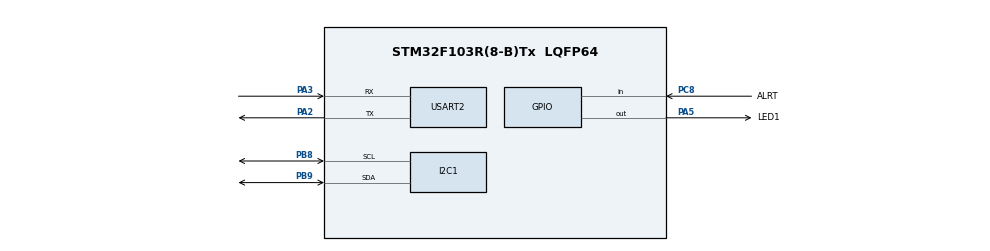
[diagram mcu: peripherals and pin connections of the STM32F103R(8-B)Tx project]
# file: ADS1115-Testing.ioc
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Mcu.Family=STM32F1
Mcu.Name=STM32F103R(8-B)Tx
Mcu.Package=LQFP64
NVIC.PriorityGroup=NVIC_PRIORITYGROUP_4
PA13.Mode=Serial_Wire
PA13.Signal=SYS_JTMS-SWDIO
PA14.Mode=Serial_Wire
PA14.Signal=SYS_JTCK-SWCLK
PA2.Mode=Asynchronous
PA2.Signal=USART2_TX
PA3.Mode=Asynchronous
PA3.Signal=USART2_RX
PA5.GPIO_Label=LED1
PA5.Signal=GPIO_Output
PB8.GPIO_Speed=GPIO_SPEED_FREQ_LOW
PB8.Mode=I2C
PB8.Signal=I2C1_SCL
PB9.GPIO_Speed=GPIO_SPEED_FREQ_LOW
PB9.Mode=I2C
PB9.Signal=I2C1_SDA
PC8.GPIO_Label=ALRT
PC8.Signal=GPIO_Input
ProjectManager.HeapSize=0x200
ProjectManager.StackSize=0x400
ProjectManager.TargetToolchain=STM32CubeIDE
RCC.APB1Freq_Value=8000000
RCC.APB2Freq_Value=8000000
USART2.VirtualMode=VM_ASYNC
board=custom

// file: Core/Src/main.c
/* USER CODE BEGIN Header */
/**
  ******************************************************************************
  * @file           : main.c
  * @brief          : Main program body
  ******************************************************************************
  * @attention
  *
  * Copyright (c) 2025 STMicroelectronics.
  * All rights reserved.
  *
  * This software is licensed under terms that can be found in the LICENSE file
  * in the root directory of this software component.
  * If no LICENSE file comes with this software, it is provided AS-IS.
  *
  ******************************************************************************
  */
/* USER CODE END Header */
#include "main.h"

/* USER CODE BEGIN Includes */

#include <string.h>
#include <stdio.h>
#include "UART.h"

/* USER CODE END Includes */

I2C_HandleTypeDef hi2c1;

UART_HandleTypeDef huart2;

/* USER CODE BEGIN PV */

static uint8_t ADS1115_ADDR = 0b10010000; // I2C address of the ADS1115, left aligned (as I2C HAL expects, 7 bit address with R/W bit set by the HAL)
static uint8_t ADS1115_REG_CONVERSION = 0x00; // Register address for ADC conversion output
static uint8_t ADS1115_REG_CONFIG = 0x01; // Register address for configuration
static uint8_t ADS1115_REG_LO_THRESH = 0x02; // Register address for low threshold
static uint8_t ADS1115_REG_HI_THRESH = 0x03; // Register address for high threshold

uint16_t ads1115_config = 0b0000001011100011; // 15: OS, 14:12: MUX, 11:9: PGA, 8: MODE, 7:5: DR, 4: COMP_MODE, 3: COMP_POL, 2: COMP_LAT, 1:0: COMP_QUE
uint16_t ads1115_low_thresh = 32768; // 0V
uint16_t ads1115_high_thresh = 58024; // 3V

// To use these masks, do ads1115_config | ads1115_config_a0_gnd
// Note that the default ads1115_config is set to 000, which is A0 relative to A1
uint16_t ads1115_config_a0_gnd = 0b0100000000000000; // Mask to select reading voltage between A0 and GND
uint16_t ads1115_config_a1_gnd = 0b0101000000000000; // Mask for A1 reading relative to GND
uint16_t ads1115_config_a2_gnd = 0b0110000000000000; // Mask for A2 reading relative to GND
uint16_t ads1115_config_a3_gnd = 0b0111000000000000; // Mask for A0 reading relative to A1

/* USER CODE END PV */

void SystemClock_Config(void);
static void MX_GPIO_Init(void);
static void MX_I2C1_Init(void);
static void MX_USART2_UART_Init(void);
/* USER CODE BEGIN PFP */

static void ADS1115_Init(void);
static void ADS1115_Thresh_Init(void);
static void ADS1115_I2C_Reset(void);
static HAL_StatusTypeDef ADS1115_Select_Register(uint8_t* reg);
static HAL_StatusTypeDef ADS1115_Write(uint8_t* reg, uint16_t* data);
static int16_t ADS1115_Read(void);

static HAL_StatusTypeDef I2C_Transmit(I2C_HandleTypeDef* hi2c, uint16_t DevAddress, uint8_t* pData, uint16_t Size, uint32_t Timeout);
static HAL_StatusTypeDef I2C_Receive(I2C_HandleTypeDef* hi2c, uint16_t DevAddress, uint8_t* pData, uint16_t Size, uint32_t Timeout);

/* USER CODE END PFP */

int main(void)
{

  /* MCU Configuration--------------------------------------------------------*/

  /* Reset of all peripherals, Initializes the Flash interface and the Systick. */
  HAL_Init();

  /* Configure the system clock */
  SystemClock_Config();

  /* Initialize all configured peripherals */
  MX_GPIO_Init();
  MX_I2C1_Init();
  MX_USART2_UART_Init();
  /* USER CODE BEGIN 2 */

  HAL_Delay(100);
  ADS1115_I2C_Reset(); // Init is called inside here
  HAL_Delay(100);

  HAL_StatusTypeDef status = HAL_I2C_IsDeviceReady(&hi2c1, ADS1115_ADDR, 1, HAL_MAX_DELAY);

  /* USER CODE END 2 */

  /* Infinite loop */
  while (1)
  {

    /* USER CODE BEGIN 3 */

    // This function waits until 's' is received on UART to continue
    // This way, from the Python script we can command the STM32 chip operate only when we tell it to
    //Continue_On_UART_Receive(huart2);

	  HAL_GPIO_TogglePin(LED1_GPIO_Port, LED1_Pin); // Toggle the LED high when we're collecting or sending values

    // Get 100 samples the slow way
    // At 860 SPS, 2ms delay should be enough to not get repeat values
    int32_t ads_data_sum = 0;
    for (int i = 0; i < 100; i++) {
      ads_data_sum += ADS1115_Read(); // Read the ADC value
      HAL_Delay(2);
    }

    int32_t ads_voltage_averaged = ads_data_sum / 100 * 8.192 * 1000000 / 65536; // uV bc. *1e6 to get full precision in an integer

    Send_ADC_Values_Over_UART(huart2, ads_voltage_averaged);

	  HAL_GPIO_TogglePin(LED1_GPIO_Port, LED1_Pin);
  }
  /* USER CODE END 3 */
}

void SystemClock_Config(void)
{
  RCC_OscInitTypeDef RCC_OscInitStruct = {0};
  RCC_ClkInitTypeDef RCC_ClkInitStruct = {0};

  /** Initializes the RCC Oscillators according to the specified parameters
  * in the RCC_OscInitTypeDef structure.
  */
  RCC_OscInitStruct.OscillatorType = RCC_OSCILLATORTYPE_HSI;
  RCC_OscInitStruct.HSIState = RCC_HSI_ON;
  RCC_OscInitStruct.HSICalibrationValue = RCC_HSICALIBRATION_DEFAULT;
  RCC_OscInitStruct.PLL.PLLState = RCC_PLL_NONE;
  if (HAL_RCC_OscConfig(&RCC_OscInitStruct) != HAL_OK)
  {
    Error_Handler();
  }

  /** Initializes the CPU, AHB and APB buses clocks
  */
  RCC_ClkInitStruct.ClockType = RCC_CLOCKTYPE_HCLK|RCC_CLOCKTYPE_SYSCLK
                              |RCC_CLOCKTYPE_PCLK1|RCC_CLOCKTYPE_PCLK2;
  RCC_ClkInitStruct.SYSCLKSource = RCC_SYSCLKSOURCE_HSI;
  RCC_ClkInitStruct.AHBCLKDivider = RCC_SYSCLK_DIV1;
  RCC_ClkInitStruct.APB1CLKDivider = RCC_HCLK_DIV1;
  RCC_ClkInitStruct.APB2CLKDivider = RCC_HCLK_DIV1;

  if (HAL_RCC_ClockConfig(&RCC_ClkInitStruct, FLASH_LATENCY_0) != HAL_OK)
  {
    Error_Handler();
  }
}

static void MX_I2C1_Init(void)
{

  hi2c1.Instance = I2C1;
  hi2c1.Init.ClockSpeed = 100000;
  hi2c1.Init.DutyCycle = I2C_DUTYCYCLE_2;
  hi2c1.Init.OwnAddress1 = 0;
  hi2c1.Init.AddressingMode = I2C_ADDRESSINGMODE_7BIT;
  hi2c1.Init.DualAddressMode = I2C_DUALADDRESS_DISABLE;
  hi2c1.Init.OwnAddress2 = 0;
  hi2c1.Init.GeneralCallMode = I2C_GENERALCALL_DISABLE;
  hi2c1.Init.NoStretchMode = I2C_NOSTRETCH_DISABLE;
  if (HAL_I2C_Init(&hi2c1) != HAL_OK)
  {
    Error_Handler();
  }

}

static void MX_USART2_UART_Init(void)
{

  huart2.Instance = USART2;
  huart2.Init.BaudRate = 115200;
  huart2.Init.WordLength = UART_WORDLENGTH_8B;
  huart2.Init.StopBits = UART_STOPBITS_1;
  huart2.Init.Parity = UART_PARITY_NONE;
  huart2.Init.Mode = UART_MODE_TX_RX;
  huart2.Init.HwFlowCtl = UART_HWCONTROL_NONE;
  huart2.Init.OverSampling = UART_OVERSAMPLING_16;
  if (HAL_UART_Init(&huart2) != HAL_OK)
  {
    Error_Handler();
  }

}

static void MX_GPIO_Init(void)
{
  GPIO_InitTypeDef GPIO_InitStruct = {0};

  /* GPIO Ports Clock Enable */
  __HAL_RCC_GPIOA_CLK_ENABLE();
  __HAL_RCC_GPIOC_CLK_ENABLE();
  __HAL_RCC_GPIOB_CLK_ENABLE();

  /*Configure GPIO pin Output Level */
  HAL_GPIO_WritePin(LED1_GPIO_Port, LED1_Pin, GPIO_PIN_RESET);

  /*Configure GPIO pin : LED1_Pin */
  GPIO_InitStruct.Pin = LED1_Pin;
  GPIO_InitStruct.Mode = GPIO_MODE_OUTPUT_PP;
  GPIO_InitStruct.Pull = GPIO_NOPULL;
  GPIO_InitStruct.Speed = GPIO_SPEED_FREQ_LOW;
  HAL_GPIO_Init(LED1_GPIO_Port, &GPIO_InitStruct);

  /*Configure GPIO pin : ALRT_Pin */
  GPIO_InitStruct.Pin = ALRT_Pin;
  GPIO_InitStruct.Mode = GPIO_MODE_INPUT;
  GPIO_InitStruct.Pull = GPIO_NOPULL;
  HAL_GPIO_Init(ALRT_GPIO_Port, &GPIO_InitStruct);

}

/* USER CODE BEGIN 4 */

static void ADS1115_Init(void) {
  ADS1115_Write(&ADS1115_REG_CONFIG, &ads1115_config);
  ADS1115_Select_Register(&ADS1115_REG_CONVERSION); // Select conversion register for reading from
}

static void ADS1115_Thresh_Init(void) {
  ADS1115_Write(&ADS1115_REG_LO_THRESH, &ads1115_low_thresh);
  ADS1115_Write(&ADS1115_REG_HI_THRESH, &ads1115_high_thresh);
}

// See: https://community.st.com/t5/stm32-mcus-products/i2c-hal-busy/td-p/620525
static void ADS1115_I2C_Reset(void){
  // Attempt to write config
  HAL_StatusTypeDef status = ADS1115_Write(&ADS1115_REG_CONFIG, &ads1115_config);
  GPIO_InitTypeDef GPIO_InitStruct = {0};
  if (status != HAL_OK){
    HAL_I2C_DeInit(&hi2c1); // De-initialize the I2C peripheral before settings pins as GPIOs
    HAL_Delay(10);  // Brief delay to ensure peripheral resets

    // Init the SCL GPIO as an open-drain GPIO output
    GPIO_InitStruct.Pin = GPIO_PIN_8|GPIO_PIN_9;
    GPIO_InitStruct.Mode = GPIO_MODE_OUTPUT_OD;
    GPIO_InitStruct.Pull = GPIO_NOPULL;
    GPIO_InitStruct.Speed = GPIO_SPEED_FREQ_LOW;
    HAL_GPIO_Init(GPIOB, &GPIO_InitStruct);

    // Send 9 pulses on SCL and keep SDA high
    HAL_GPIO_WritePin(GPIOB, GPIO_PIN_9, GPIO_PIN_SET); // SDA high
    for (int i = 0; i < 9; i++){
      HAL_GPIO_WritePin(GPIOB, GPIO_PIN_8, GPIO_PIN_SET);
      HAL_Delay(20);
      HAL_GPIO_WritePin(GPIOB, GPIO_PIN_8, GPIO_PIN_RESET);
      HAL_Delay(20);
    }

    // Generate a STOP condition to release the bus
    HAL_GPIO_WritePin(GPIOB, GPIO_PIN_9, GPIO_PIN_RESET);  // SDA low
    HAL_Delay(1);
    HAL_GPIO_WritePin(GPIOB, GPIO_PIN_8, GPIO_PIN_SET);    // SCL high
    HAL_Delay(1);
    HAL_GPIO_WritePin(GPIOB, GPIO_PIN_9, GPIO_PIN_SET);    // SDA high
    HAL_Delay(10);  // Stabilize bus
    MX_I2C1_Init();

    status = HAL_I2C_IsDeviceReady(&hi2c1, ADS1115_ADDR, 1, HAL_MAX_DELAY);

    // print the status to UART
    char msg[50];
    sprintf(msg, "ADS1115 Reset Status: %d\r\n", status);
    HAL_UART_Transmit(&huart2, (uint8_t*)msg, strlen(msg), HAL_MAX_DELAY);

    if (status == HAL_OK) {
      ADS1115_Init();
    } else{
      ADS1115_I2C_Reset(); // Try again, ad infinitum
      uint32_t error = HAL_I2C_GetError(&hi2c1);
      sprintf(msg, "I2C Error Code: %lu\r\n", error);
      HAL_UART_Transmit(&huart2, (uint8_t*)msg, strlen(msg), HAL_MAX_DELAY);
    }
  }
}

static HAL_StatusTypeDef ADS1115_Select_Register(uint8_t* reg) {
  uint8_t buf[1] = {*reg}; // Buffer to send, first byte is the register address
  return I2C_Transmit(&hi2c1, ADS1115_ADDR, buf, sizeof(buf), HAL_MAX_DELAY);
}

static HAL_StatusTypeDef ADS1115_Write(uint8_t* reg, uint16_t* data) {
  // Write this better later, this data length this is stupid what if the msb is actually 0x00 and you want to send that
  uint8_t data_byte_msb = (uint8_t)((*data >> 8) & 0xFF); // First byte of data to send, most significant byte
  uint8_t data_byte_lsb = (uint8_t)(*data & 0xFF); // Least significant byte, with 0xFF mask to clear the upper 8 bits, probably not needed
  uint8_t buf[3] = {*reg, data_byte_msb, data_byte_lsb}; // Buffer to send, first byte is the register address, second and third are the data bytes
  uint8_t buf_len = data_byte_msb == 0x00 ? 2 : 3; // If msb if empty, only send register and lsb byte
  return I2C_Transmit(&hi2c1, ADS1115_ADDR, buf, buf_len, HAL_MAX_DELAY);
}

// This reads from whatever register was last selected. Note that both Select_Register and Write functions will select the register to either read or write to
static int16_t ADS1115_Read(void) {
  uint8_t buf[2];
  I2C_Receive(&hi2c1, ADS1115_ADDR, buf, sizeof(buf), HAL_MAX_DELAY);
  int16_t ads_data = (buf[0] << 8) | buf[1]; // Combine the two bytes into a single 16-bit value
  int32_t ads_voltage = ads_data * 8.192 * 1000000 / 65536; // Output in uV to get full precision, going to need to dynamically change the full scale range of the ADC and this variable
  //char msg[50];
  //snprintf(msg, sizeof(msg), "ADC Value: %ld\r\n", ads_voltage);
  //HAL_UART_Transmit(&huart2, (uint8_t*)msg, strlen(msg), HAL_MAX_DELAY);
  return ads_data;
}

static HAL_StatusTypeDef I2C_Transmit(I2C_HandleTypeDef* hi2c, uint16_t DevAddress, uint8_t* pData, uint16_t Size, uint32_t Timeout) {
  HAL_StatusTypeDef status = HAL_I2C_Master_Transmit(hi2c, DevAddress, pData, Size, Timeout);
  if (status != HAL_OK)
  {
    char msg[50];
    snprintf(msg, sizeof(msg), "I2C Transmit Error: %d\r\n", status);
    HAL_UART_Transmit(&huart2, (uint8_t*)msg, strlen(msg), HAL_MAX_DELAY);
    HAL_GPIO_TogglePin(LED1_GPIO_Port, LED1_Pin);
  }
  return status;
}

static HAL_StatusTypeDef I2C_Receive(I2C_HandleTypeDef* hi2c, uint16_t DevAddress, uint8_t* pData, uint16_t Size, uint32_t Timeout) {
  HAL_StatusTypeDef status = HAL_I2C_Master_Receive(hi2c, DevAddress, pData, Size, Timeout);
  if (status != HAL_OK)
  {
    char msg[50];
    snprintf(msg, sizeof(msg), "I2C Receive Error: %d\r\n", status);
    HAL_UART_Transmit(&huart2, (uint8_t*)msg, strlen(msg), HAL_MAX_DELAY);
    HAL_GPIO_TogglePin(LED1_GPIO_Port, LED1_Pin);
  }
  return status;
}

/* USER CODE END 4 */

void Error_Handler(void)
{
  __disable_irq();
  while (1)
  {
  }
}
